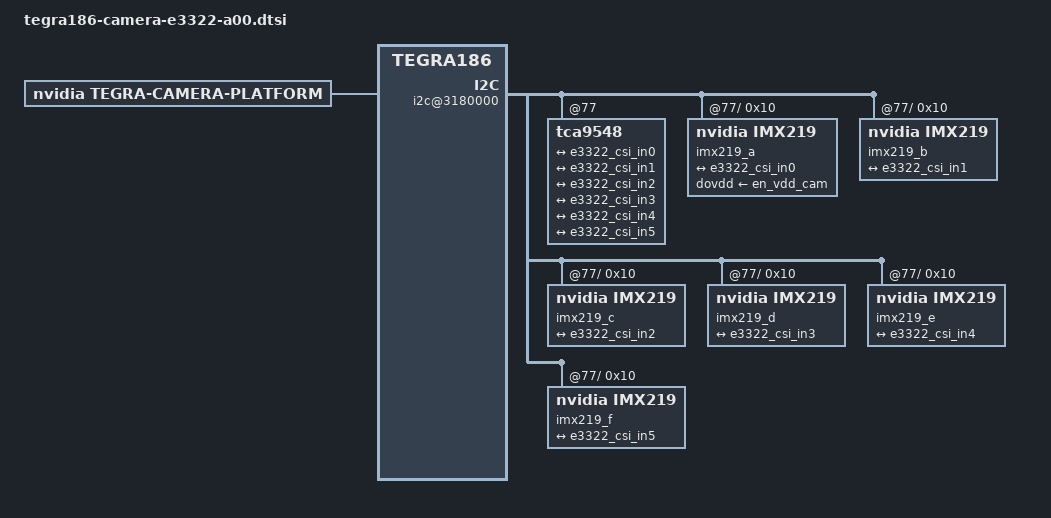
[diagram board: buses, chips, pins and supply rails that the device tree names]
/*
 * Copyright (c) 2015-2018, NVIDIA CORPORATION.  All rights reserved.
 *
 * This program is free software; you can redistribute it and/or modify
 * it under the terms of the GNU General Public License as published by
 * the Free Software Foundation; either version 2 of the License, or
 * (at your option) any later version.
 *
 * This program is distributed in the hope that it will be useful, but WITHOUT
 * ANY WARRANTY; without even the implied warranty of MERCHANTABILITY or
 * FITNESS FOR A PARTICULAR PURPOSE.  See the GNU General Public License for
 * more details.
 *
 * You should have received a copy of the GNU General Public License
 * along with this program.  If not, see <http://www.gnu.org/licenses/>.
 */

/* camera control gpio definitions */
/ {
	host1x {
		vi@15700000 {
			num-channels = <6>;
			ports {
				#address-cells = <1>;
				#size-cells = <0>;
				port@0 {
					reg = <0>;
					e3322_vi_in0: endpoint {
						port-index = <0>;
						bus-width = <2>;
						remote-endpoint = <&e3322_csi_out0>;
					};
				};
				port@1 {
					reg = <1>;
					e3322_vi_in1: endpoint {
						port-index = <1>;
						bus-width = <2>;
						remote-endpoint = <&e3322_csi_out1>;
					};
				};
				port@2 {
					reg = <2>;
					e3322_vi_in2: endpoint {
						port-index = <2>;
						bus-width = <2>;
						remote-endpoint = <&e3322_csi_out2>;
					};
				};
				port@3 {
					reg = <3>;
					e3322_vi_in3: endpoint {
						port-index = <3>;
						bus-width = <2>;
						remote-endpoint = <&e3322_csi_out3>;
					};
				};
				port@4 {
					reg = <4>;
					e3322_vi_in4: endpoint {
						port-index = <4>;
						bus-width = <2>;
						remote-endpoint = <&e3322_csi_out4>;
					};
				};
				port@5 {
					reg = <5>;
					e3322_vi_in5: endpoint {
						port-index = <5>;
						bus-width = <2>;
						remote-endpoint = <&e3322_csi_out5>;
					};
				};
			};
		};

		nvcsi@150c0000 {
			num-channels = <6>;
			channel@0 {
				reg = <0>;
				ports {
					#address-cells = <1>;
					#size-cells = <0>;
					port@0 {
						reg = <0>;
						e3322_csi_in0: endpoint@0 {
							port-index = <0>;
							bus-width = <2>;
							remote-endpoint = <&e3322_imx219_out0>;
						};
					};
					port@1 {
						reg = <1>;
						e3322_csi_out0: endpoint@1 {
							remote-endpoint = <&e3322_vi_in0>;
						};
					};
				};
			};
			channel@1 {
				reg = <1>;
				ports {
					#address-cells = <1>;
					#size-cells = <0>;
					port@0 {
						reg = <0>;
						e3322_csi_in1: endpoint@2 {
							port-index = <1>;
							bus-width = <2>;
							remote-endpoint = <&e3322_imx219_out1>;
						};
					};
					port@1 {
						reg = <1>;
						e3322_csi_out1: endpoint@3 {
							remote-endpoint = <&e3322_vi_in1>;
						};
					};
				};
			};
			channel@2 {
				reg = <2>;
				ports {
					#address-cells = <1>;
					#size-cells = <0>;
					port@0 {
						reg = <0>;
						e3322_csi_in2: endpoint@4 {
							port-index = <2>;
							bus-width = <2>;
							remote-endpoint = <&e3322_imx219_out2>;
						};
					};
					port@1 {
						reg = <1>;
						e3322_csi_out2: endpoint@5 {
							remote-endpoint = <&e3322_vi_in2>;
						};
					};
				};
			};
			channel@3 {
				reg = <3>;
				ports {
					#address-cells = <1>;
					#size-cells = <0>;
					port@0 {
						reg = <0>;
						e3322_csi_in3: endpoint@6 {
							port-index = <3>;
							bus-width = <2>;
							remote-endpoint = <&e3322_imx219_out3>;
						};
					};
					port@1 {
						reg = <1>;
						e3322_csi_out3: endpoint@7 {
							remote-endpoint = <&e3322_vi_in3>;
						};
					};
				};
			};
			channel@4 {
				reg = <4>;
				ports {
					#address-cells = <1>;
					#size-cells = <0>;
					port@0 {
						reg = <0>;
						e3322_csi_in4: endpoint@8 {
							port-index = <4>;
							bus-width = <2>;
							remote-endpoint = <&e3322_imx219_out4>;
						};
					};
					port@1 {
						reg = <1>;
						e3322_csi_out4: endpoint@9 {
							remote-endpoint = <&e3322_vi_in4>;
						};
					};
				};
			};
			channel@5 {
				reg = <5>;
				ports {
					#address-cells = <1>;
					#size-cells = <0>;
					port@0 {
						reg = <0>;
						e3322_csi_in5: endpoint@10 {
							port-index = <5>;
							bus-width = <2>;
							remote-endpoint = <&e3322_imx219_out5>;
						};
					};
					port@1 {
						reg = <1>;
						e3322_csi_out5: endpoint@11 {
							remote-endpoint = <&e3322_vi_in5>;
						};
					};
				};
			};
		};
	};

	i2c@3180000 {
		tca9548@77 {
			i2c@0 {
				imx219_a@10 {
					devnode = "video0";
					compatible = "nvidia,imx219";
					reg = <0x10>;

					physical_w = "5.095";
					physical_h = "4.930";

					sensor_model ="imx219";
					dovdd-supply = <&en_vdd_cam>;
					avdd-reg = "vana";
					dvdd-reg = "vdig";
					iovdd-reg = "dovdd";

					mode0 { // IMX219_MODE_3264X2464
						mclk_khz = "12000";
						num_lanes = "2";
						tegra_sinterface = "serial_a";
						phy_mode = "DPHY";
						discontinuous_clk = "yes";
						dpcm_enable = "false";
						cil_settletime = "0";

						active_w = "3264";
						active_h = "2464";
						pixel_t = "bayer_rggb";
						readout_orientation = "90";
						line_length = "3448";
						inherent_gain = "1";
						mclk_multiplier = "18.67";
						pix_clk_hz = "224000000";

						gain_factor = "16";
						framerate_factor = "1000000";
						exposure_factor = "1000000";
						min_gain_val = "16"; /* 1.0 */
						max_gain_val = "256"; /* 16.0 */
						step_gain_val = "1"; /* 0.125 */
						default_gain = "16";
						min_hdr_ratio = "1";
						max_hdr_ratio = "1";
						min_framerate = "1462526"; /* 1.462526 */
						max_framerate = "21000000"; /* 21.0 */
						step_framerate = "1";
						default_framerate = "21000000"; /* 21.0 */
						min_exp_time = "13"; /* us */
						max_exp_time = "683709"; /* us */
						step_exp_time = "1";
						default_exp_time = "2495"; /* us, 0x9bf */
						embedded_metadata_height = "2";
					};
					ports {
						#address-cells = <1>;
						#size-cells = <0>;

						port@0 {
							reg = <0>;
							e3322_imx219_out0: endpoint {
								port-index = <0>;
								bus-width = <2>;
								remote-endpoint = <&e3322_csi_in0>;
							};
						};
					};
				};
			};

			i2c@1 {
				imx219_b@10 {
					devnode = "video1";
					compatible = "nvidia,imx219";
					reg = <0x10>;

					physical_w = "5.095";
					physical_h = "4.930";

					sensor_model ="imx219";
					avdd-reg = "vana";
					dvdd-reg = "vdig";
					iovdd-reg = "dovdd";

					mode0 { // IMX219_MODE_3264X2464
						mclk_khz = "12000";
						num_lanes = "2";
						tegra_sinterface = "serial_b";
						phy_mode = "DPHY";
						discontinuous_clk = "yes";
						dpcm_enable = "false";
						cil_settletime = "0";

						active_w = "3264";
						active_h = "2464";
						pixel_t = "bayer_rggb";
						readout_orientation = "90";
						line_length = "3448";
						inherent_gain = "1";
						mclk_multiplier = "18.67";
						pix_clk_hz = "224000000";

						gain_factor = "16";
						framerate_factor = "1000000";
						exposure_factor = "1000000";
						min_gain_val = "16"; /* 1.0 */
						max_gain_val = "256"; /* 16.0 */
						step_gain_val = "1"; /* 0.125 */
						default_gain = "16";
						min_hdr_ratio = "1";
						max_hdr_ratio = "1";
						min_framerate = "1462526"; /* 1.462526 */
						max_framerate = "21000000"; /* 21.0 */
						step_framerate = "1";
						default_framerate = "21000000"; /* 21.0 */
						min_exp_time = "13"; /* us */
						max_exp_time = "683709"; /* us */
						step_exp_time = "1";
						default_exp_time = "2495"; /* us, 0x9bf */
						embedded_metadata_height = "2";
					};
					ports {
						#address-cells = <1>;
						#size-cells = <0>;

						port@0 {
							reg = <0>;
							e3322_imx219_out1: endpoint {
								port-index = <1>;
								bus-width = <2>;
								remote-endpoint = <&e3322_csi_in1>;
							};
						};
					};
				};
			};

			i2c@2 {
				imx219_c@10 {
					devnode = "video2";
					compatible = "nvidia,imx219";
					reg = <0x10>;

					physical_w = "5.095";
					physical_h = "4.930";

					sensor_model ="imx219";
					avdd-reg = "vana";
					dvdd-reg = "vdig";
					iovdd-reg = "dovdd";

					mode0 { // IMX219_MODE_3264X2464
						mclk_khz = "12000";
						num_lanes = "2";
						tegra_sinterface = "serial_c";
						phy_mode = "DPHY";
						discontinuous_clk = "yes";
						dpcm_enable = "false";
						cil_settletime = "0";

						active_w = "3264";
						active_h = "2464";
						pixel_t = "bayer_rggb";
						readout_orientation = "90";
						line_length = "3448";
						inherent_gain = "1";
						mclk_multiplier = "18.67";
						pix_clk_hz = "224000000";

						gain_factor = "16";
						framerate_factor = "1000000";
						exposure_factor = "1000000";
						min_gain_val = "16"; /* 1.0 */
						max_gain_val = "256"; /* 16.0 */
						step_gain_val = "1"; /* 0.125 */
						default_gain = "16";
						min_hdr_ratio = "1";
						max_hdr_ratio = "1";
						min_framerate = "1462526"; /* 1.462526 */
						max_framerate = "21000000"; /* 21.0 */
						step_framerate = "1";
						default_framerate = "21000000"; /* 21.0 */
						min_exp_time = "13"; /* us */
						max_exp_time = "683709"; /* us */
						step_exp_time = "1";
						default_exp_time = "2495"; /* us, 0x9bf */
						embedded_metadata_height = "2";
					};
					ports {
						#address-cells = <1>;
						#size-cells = <0>;

						port@0 {
							reg = <0>;
							e3322_imx219_out2: endpoint {
								port-index = <2>;
								bus-width = <2>;
								remote-endpoint = <&e3322_csi_in2>;
							};
						};
					};
				};
			};

			i2c@3 {
				imx219_d@10 {
					devnode = "video3";
					compatible = "nvidia,imx219";
					reg = <0x10>;

					physical_w = "5.095";
					physical_h = "4.930";

					sensor_model ="imx219";
					avdd-reg = "vana";
					dvdd-reg = "vdig";
					iovdd-reg = "dovdd";

					mode0 { // IMX219_MODE_3264X2464
						mclk_khz = "12000";
						num_lanes = "2";
						tegra_sinterface = "serial_d";
						phy_mode = "DPHY";
						discontinuous_clk = "yes";
						dpcm_enable = "false";
						cil_settletime = "0";

						active_w = "3264";
						active_h = "2464";
						pixel_t = "bayer_rggb";
						readout_orientation = "90";
						line_length = "3448";
						inherent_gain = "1";
						mclk_multiplier = "18.67";
						pix_clk_hz = "224000000";

						gain_factor = "16";
						framerate_factor = "1000000";
						exposure_factor = "1000000";
						min_gain_val = "16"; /* 1.0 */
						max_gain_val = "256"; /* 16.0 */
						step_gain_val = "1"; /* 0.125 */
						default_gain = "16";
						min_hdr_ratio = "1";
						max_hdr_ratio = "1";
						min_framerate = "1462526"; /* 1.462526 */
						max_framerate = "21000000"; /* 21.0 */
						step_framerate = "1";
						default_framerate = "21000000"; /* 21.0 */
						min_exp_time = "13"; /* us */
						max_exp_time = "683709"; /* us */
						step_exp_time = "1";
						default_exp_time = "2495"; /* us, 0x9bf */
						embedded_metadata_height = "2";
					};
					ports {
						#address-cells = <1>;
						#size-cells = <0>;

						port@0 {
							reg = <0>;
							e3322_imx219_out3: endpoint {
								port-index = <3>;
								bus-width = <2>;
								remote-endpoint = <&e3322_csi_in3>;
							};
						};
					};
				};
			};

			i2c@4 {
				imx219_e@10 {
					devnode = "video4";
					compatible = "nvidia,imx219";
					reg = <0x10>;

					physical_w = "5.095";
					physical_h = "4.930";

					sensor_model ="imx219";
					avdd-reg = "vana";
					dvdd-reg = "vdig";
					iovdd-reg = "dovdd";

					mode0 { // IMX219_MODE_3264X2464
						mclk_khz = "12000";
						num_lanes = "2";
						tegra_sinterface = "serial_e";
						phy_mode = "DPHY";
						discontinuous_clk = "yes";
						dpcm_enable = "false";
						cil_settletime = "0";

						active_w = "3264";
						active_h = "2464";
						pixel_t = "bayer_rggb";
						readout_orientation = "90";
						line_length = "3448";
						inherent_gain = "1";
						mclk_multiplier = "18.67";
						pix_clk_hz = "224000000";

						gain_factor = "16";
						framerate_factor = "1000000";
						exposure_factor = "1000000";
						min_gain_val = "16"; /* 1.0 */
						max_gain_val = "256"; /* 16.0 */
						step_gain_val = "1"; /* 0.125 */
						default_gain = "16";
						min_hdr_ratio = "1";
						max_hdr_ratio = "1";
						min_framerate = "1462526"; /* 1.462526 */
						max_framerate = "21000000"; /* 21.0 */
						step_framerate = "1";
						default_framerate = "21000000"; /* 21.0 */
						min_exp_time = "13"; /* us */
						max_exp_time = "683709"; /* us */
						step_exp_time = "1";
						default_exp_time = "2495"; /* us, 0x9bf */
						embedded_metadata_height = "2";
					};
					ports {
						#address-cells = <1>;
						#size-cells = <0>;

						port@0 {
							reg = <0>;
							e3322_imx219_out4: endpoint {
								port-index = <4>;
								bus-width = <2>;
								remote-endpoint = <&e3322_csi_in4>;
							};
						};
					};
				};
			};

			i2c@5 {
				imx219_f@10 {
					devnode = "video5";
					compatible = "nvidia,imx219";
					reg = <0x10>;

					physical_w = "5.095";
					physical_h = "4.930";

					sensor_model ="imx219";
					avdd-reg = "vana";
					dvdd-reg = "vdig";
					iovdd-reg = "dovdd";

					mode0 { // IMX219_MODE_3264X2464
						mclk_khz = "12000";
						num_lanes = "2";
						tegra_sinterface = "serial_f";
						phy_mode = "DPHY";
						discontinuous_clk = "yes";
						dpcm_enable = "false";
						cil_settletime = "0";

						active_w = "3264";
						active_h = "2464";
						pixel_t = "bayer_rggb";
						readout_orientation = "90";
						line_length = "3448";
						inherent_gain = "1";
						mclk_multiplier = "18.67";
						pix_clk_hz = "224000000";

						gain_factor = "16";
						framerate_factor = "1000000";
						exposure_factor = "1000000";
						min_gain_val = "16"; /* 1.0 */
						max_gain_val = "256"; /* 16.0 */
						step_gain_val = "1"; /* 0.125 */
						default_gain = "16";
						min_hdr_ratio = "1";
						max_hdr_ratio = "1";
						min_framerate = "1462526"; /* 1.462526 */
						max_framerate = "21000000"; /* 21.0 */
						step_framerate = "1";
						default_framerate = "21000000"; /* 21.0 */
						min_exp_time = "13"; /* us */
						max_exp_time = "683709"; /* us */
						step_exp_time = "1";
						default_exp_time = "2495"; /* us, 0x9bf */
						embedded_metadata_height = "2";
					};
					ports {
						#address-cells = <1>;
						#size-cells = <0>;

						port@0 {
							reg = <0>;
							e3322_imx219_out5: endpoint {
								port-index = <5>;
								bus-width = <2>;
								remote-endpoint = <&e3322_csi_in5>;
							};
						};
					};
				};
			};
		};
	};
};

/* camera control gpio definitions */
/ {
	tegra-camera-platform {
		compatible = "nvidia, tegra-camera-platform";

		/**
		* Physical settings to calculate max ISO BW
		*
		* num_csi_lanes = <>;
		* Total number of CSI lanes when all cameras are active
		*
		* max_lane_speed = <>;
		* Max lane speed in Kbit/s
		*
		* min_bits_per_pixel = <>;
		* Min bits per pixel
		*
		* vi_peak_byte_per_pixel = <>;
		* Max byte per pixel for the VI ISO case
		*
		* vi_bw_margin_pct = <>;
		* Vi bandwidth margin in percentage
		*
		* max_pixel_rate = <>;
		* Max pixel rate in Kpixel/s for the ISP ISO case
		*
		* isp_peak_byte_per_pixel = <>;
		* Max byte per pixel for the ISP ISO case
		*
		* isp_bw_margin_pct = <>;
		* Isp bandwidth margin in percentage
		*/
		num_csi_lanes = <12>;
		max_lane_speed = <1500000>;
		min_bits_per_pixel = <10>;
		vi_peak_byte_per_pixel = <2>;
		vi_bw_margin_pct = <25>;
		isp_peak_byte_per_pixel = <5>;
		isp_bw_margin_pct = <25>;

		/**
		 * The general guideline for naming badge_info contains 3 parts, and is as follows,
		 * The first part is the camera_board_id for the module; if the module is in a FFD
		 * platform, then use the platform name for this part.
		 * The second part contains the position of the module, ex. “rear” or “front”.
		 * The third part contains the last 6 characters of a part number which is found
		 * in the module's specsheet from the vender.
		 */
		modules {
			module0 {
				badge = "e3322_bottomleft_A815P2";
				position = "bottomleft";
				orientation = "1";
				drivernode0 {
					pcl_id = "v4l2_sensor";
					devname = "imx219 30-0010";
					proc-device-tree = "/proc/device-tree/i2c@3180000/tca9548@77/i2c@0/imx219_a@10";
				};
				drivernode1 {
					pcl_id = "v4l2_lens";
				};
			};
			module1 {
				badge = "e3322_centerleft_A815P2";
				position = "centerleft";
				orientation = "1";
				drivernode0 {
					pcl_id = "v4l2_sensor";
					devname = "imx219 31-0010";
					proc-device-tree = "/proc/device-tree/i2c@3180000/tca9548@77/i2c@1/imx219_b@10";
				};
				drivernode1 {
					pcl_id = "v4l2_lens";
				};
			};
			module2 {
				badge = "e3322_centerright_A815P2";
				position = "centerright";
				orientation = "1";
				drivernode0 {
					pcl_id = "v4l2_sensor";
					devname = "imx219 32-0010";
					proc-device-tree = "/proc/device-tree/i2c@3180000/tca9548@77/i2c@2/imx219_c@10";
				};
				drivernode1 {
					pcl_id = "v4l2_lens";
				};
			};
			module3 {
				badge = "e3322_topleft_A815P2";
				position = "topleft";
				orientation = "1";
				drivernode0 {
					pcl_id = "v4l2_sensor";
					devname = "imx219 33-0010";
					proc-device-tree = "/proc/device-tree/i2c@3180000/tca9548@77/i2c@3/imx219_d@10";
				};
				drivernode1 {
					pcl_id = "v4l2_lens";
				};
			};
			module4 {
				badge = "e3322_bottomright_A815P2";
				position = "bottomright";
				orientation = "1";
				drivernode0 {
					pcl_id = "v4l2_sensor";
					devname = "imx219 34-0010";
					proc-device-tree = "/proc/device-tree/i2c@3180000/tca9548@77/i2c@4/imx219_e@10";
				};
				drivernode1 {
					pcl_id = "v4l2_lens";
				};
			};
			module5 {
				badge = "e3322_topright_A815P2";
				position = "topright";
				orientation = "1";
				drivernode0 {
					pcl_id = "v4l2_sensor";
					devname = "imx219 35-0010";
					proc-device-tree = "/proc/device-tree/i2c@3180000/tca9548@77/i2c@5/imx219_f@10";
				};
				drivernode1 {
					pcl_id = "v4l2_lens";
				};
			};
		};
	};
};
